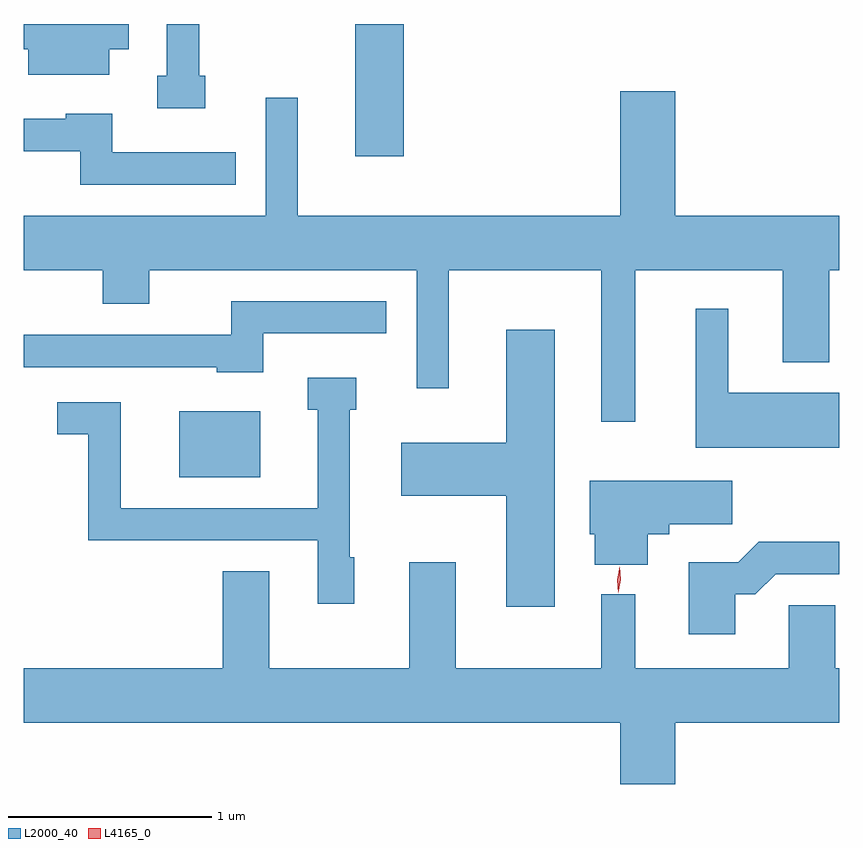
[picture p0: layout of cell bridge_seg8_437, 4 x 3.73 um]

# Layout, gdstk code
import gdstk
lib = gdstk.Library(unit=1e-6, precision=1e-09)
def R(c, l, rs):  # rectangles x0, y0, x1, y1
    for r in rs: c.add(gdstk.rectangle(r[:2], r[2:], *l))
def P(c, l, *ps):  # polygons
    for p in ps: c.add(gdstk.Polygon(p, *l))
L2000_40 = (2000, 40)
L4165_0 = (4165, 0)

bridge_seg8_437 = lib.new_cell('bridge_seg8_437')
R(bridge_seg8_437, L2000_40, [(992.131,1837.621,992.529,1837.944), (992.996,1839.196,993.234,1839.844)])
P(bridge_seg8_437, L2000_40, [(992.259,1839.589),(992.229,1839.589),(992.229,1839.844),(992.071,1839.844),(992.071,1839.589),(992.023,1839.589),(992.023,1839.431),(992.259,1839.431)],
  [(991.789,1839.721),(991.884,1839.721),(991.884,1839.844),(991.369,1839.844),(991.369,1839.721),(991.391,1839.721),(991.391,1839.596),(991.789,1839.596)],
  [(994.369,1838.636),(995.091,1838.636),(995.091,1838.186),(995.319,1838.186),(995.319,1838.636),(995.369,1838.636),(995.369,1838.904),(994.564,1838.904),(994.564,1839.514),(994.296,1839.514),(994.296,1838.904),(992.714,1838.904),(992.714,1839.483),(992.556,1839.483),(992.556,1838.904),(991.369,1838.904),(991.369,1838.636),(991.756,1838.636),(991.756,1838.471),(991.984,1838.471),(991.984,1838.636),(993.296,1838.636),(993.296,1838.058),(993.454,1838.058),(993.454,1838.636),(994.201,1838.636),(994.201,1837.893),(994.369,1837.893)],
  [(992.408,1839.214),(991.804,1839.214),(991.804,1839.404),(991.576,1839.404),(991.576,1839.379),(991.369,1839.379),(991.369,1839.221),(991.646,1839.221),(991.646,1839.056),(992.408,1839.056)],
  [(992.544,1838.326),(993.148,1838.326),(993.148,1838.484),(992.386,1838.484),(992.386,1838.319),(991.369,1838.319),(991.369,1838.161),(992.316,1838.161),(992.316,1838.136),(992.544,1838.136)],
  [(995.369,1838.034),(994.824,1838.034),(994.824,1838.448),(994.666,1838.448),(994.666,1837.766),(995.369,1837.766)],
  [(993.974,1838.344),(993.736,1838.344),(993.736,1837.789),(993.221,1837.789),(993.221,1837.531),(993.736,1837.531),(993.736,1836.986),(993.974,1836.986)],
  [(992.989,1837.229),(992.969,1837.229),(992.969,1837.951),(992.999,1837.951),(992.999,1838.109),(992.763,1838.109),(992.763,1837.951),(992.811,1837.951),(992.811,1837.469),(991.844,1837.469),(991.844,1837.989),(991.533,1837.989),(991.533,1837.831),(991.686,1837.831),(991.686,1837.311),(992.811,1837.311),(992.811,1837.001),(992.989,1837.001)],
  [(994.429,1837.341),(994.534,1837.341),(994.534,1837.391),(994.844,1837.391),(994.844,1837.604),(994.146,1837.604),(994.146,1837.341),(994.171,1837.341),(994.171,1837.191),(994.429,1837.191)],
  [(994.859,1837.046),(994.957,1837.046),(995.057,1837.146),(995.369,1837.146),(995.369,1837.304),(994.974,1837.304),(994.874,1837.204),(994.631,1837.204),(994.631,1836.851),(994.859,1836.851)],
  [(994.564,1836.416),(995.369,1836.416),(995.369,1836.684),(995.349,1836.684),(995.349,1836.994),(995.121,1836.994),(995.121,1836.684),(994.369,1836.684),(994.369,1837.048),(994.201,1837.048),(994.201,1836.684),(993.489,1836.684),(993.489,1837.204),(993.261,1837.204),(993.261,1836.684),(992.574,1836.684),(992.574,1837.159),(992.346,1837.159),(992.346,1836.684),(991.369,1836.684),(991.369,1836.416),(994.296,1836.416),(994.296,1836.116),(994.564,1836.116)])
P(bridge_seg8_437, L4165_0, [(994.284,1837.054),(994.279,1837.118),(994.292,1837.182),(994.292,1837.182),(994.293,1837.182),(994.298,1837.117),(994.285,1837.054),(994.285,1837.054)])

lib.write_gds('bridge_seg8_437.gds')
